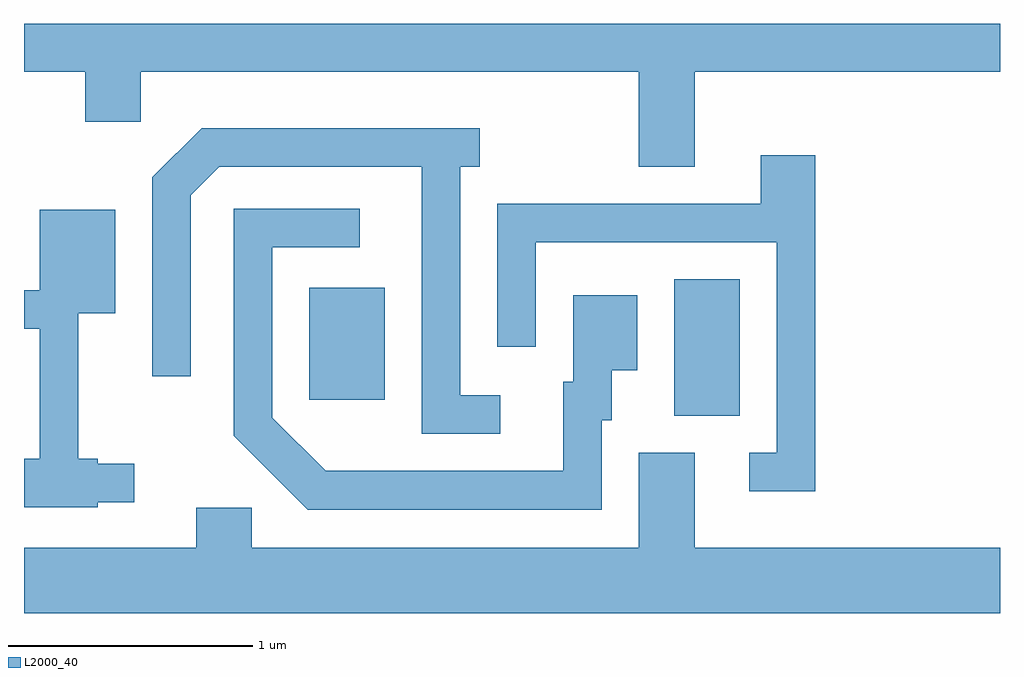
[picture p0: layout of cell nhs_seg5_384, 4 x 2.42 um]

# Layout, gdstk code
import gdstk
lib = gdstk.Library(unit=1e-6, precision=1e-09)
def R(c, l, rs):  # rectangles x0, y0, x1, y1
    for r in rs: c.add(gdstk.rectangle(r[:2], r[2:], *l))
def P(c, l, *ps):  # polygons
    for p in ps: c.add(gdstk.Polygon(p, *l))
L2000_40 = (2000, 40)

nhs_seg5_384 = lib.new_cell('nhs_seg5_384')
R(nhs_seg5_384, L2000_40, [(198.276,1486.466,198.544,1487.024), (196.781,1486.531,197.089,1486.989)])
P(nhs_seg5_384, L2000_40, [(198.359,1487.876),(199.611,1487.876),(199.611,1488.072),(195.611,1488.072),(195.611,1487.876),(195.861,1487.876),(195.861,1487.671),(196.089,1487.671),(196.089,1487.876),(198.131,1487.876),(198.131,1487.486),(198.359,1487.486)],
  [(197.563,1486.549),(197.399,1486.549),(197.399,1487.486),(197.478,1487.486),(197.478,1487.644),(196.339,1487.644),(196.136,1487.442),(196.136,1486.628),(196.294,1486.628),(196.294,1487.369),(196.412,1487.486),(197.241,1487.486),(197.241,1486.391),(197.563,1486.391)],
  [(198.854,1487.534),(198.631,1487.534),(198.631,1487.334),(197.551,1487.334),(197.551,1486.748),(197.709,1486.748),(197.709,1487.176),(198.696,1487.176),(198.696,1486.314),(198.583,1486.314),(198.583,1486.156),(198.854,1486.156)],
  [(197.979,1486.446),(198.019,1486.446),(198.019,1486.651),(198.124,1486.651),(198.124,1486.959),(197.861,1486.959),(197.861,1486.604),(197.821,1486.604),(197.821,1486.239),(196.847,1486.239),(196.629,1486.457),(196.629,1487.156),(196.988,1487.156),(196.988,1487.314),(196.471,1487.314),(196.471,1486.384),(196.774,1486.081),(197.979,1486.081)],
  [(195.914,1486.111),(196.063,1486.111),(196.063,1486.269),(195.914,1486.269),(195.914,1486.289),(195.834,1486.289),(195.834,1486.886),(195.984,1486.886),(195.984,1487.309),(195.676,1487.309),(195.676,1486.979),(195.611,1486.979),(195.611,1486.821),(195.676,1486.821),(195.676,1486.289),(195.611,1486.289),(195.611,1486.091),(195.914,1486.091)],
  [(199.611,1485.924),(198.359,1485.924),(198.359,1486.314),(198.131,1486.314),(198.131,1485.924),(196.544,1485.924),(196.544,1486.089),(196.316,1486.089),(196.316,1485.924),(195.611,1485.924),(195.611,1485.656),(199.611,1485.656)])

lib.write_gds('nhs_seg5_384.gds')
